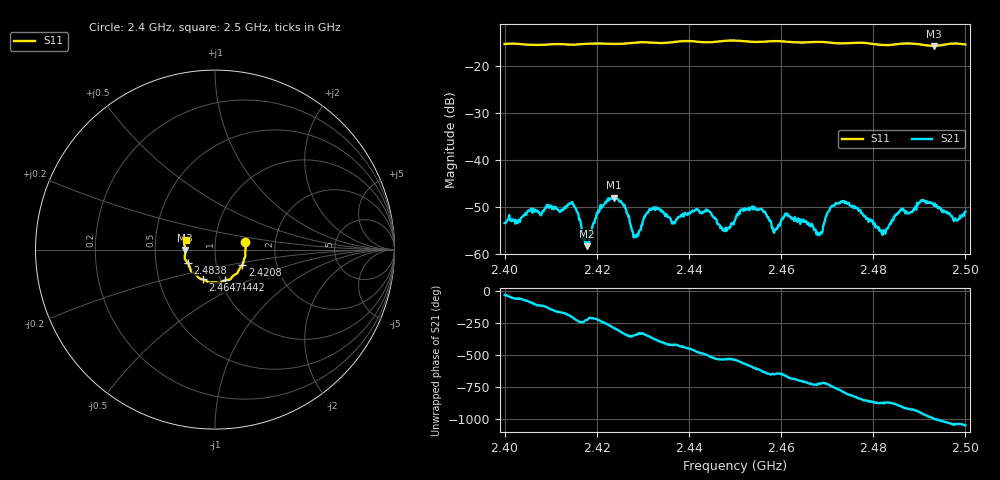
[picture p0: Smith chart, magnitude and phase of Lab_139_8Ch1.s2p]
# Hz S RI R 50
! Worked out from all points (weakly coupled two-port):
!   601 points, 2.4 GHz to 2.5 GHz, reference 50 ohm
!   highest |S21| = -47.94 dB at 2.4237 GHz (marker M1); lowest = -58.3 dB at 2.4178 GHz (marker M2)
!   lowest |S11| = -15.6 dB at 2.4932 GHz (marker M3), VSWR 1.40, Z = 35.8 - j0.101 ohm
!   |S11| at or under -10 dB: start of sweep to end of sweep
!   S12 and S22 are empty: the file has one direction only
!   S11 on the Smith chart (normalised r, x): 2.4 GHz: 1.40, +0.12; 2.4208 GHz: 1.33, -0.24; 2.4442 GHz: 1.05, -0.37; 2.4647 GHz: 0.83, -0.29; 2.4838 GHz: 0.73, -0.11; 2.5 GHz: 0.72, +0.08
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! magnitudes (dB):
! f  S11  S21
! 2.4 GHz  -15.2  -53.3
! 2.4143 GHz  -15.4  -49.0
! 2.4167 GHz  -15.3  -54.3
! 2.4178 GHz  -15.2  -58.3
! 2.4208 GHz  -15.1  -49.5
! 2.4237 GHz  -15.2  -47.9
! 2.4285 GHz  -14.9  -56.1
! 2.4333 GHz  -15.0  -50.1
! 2.4367 GHz  -14.8  -53.2
! 2.4442 GHz  -14.9  -50.8
! 2.4477 GHz  -14.6  -54.8
! 2.45 GHz  -14.5  -52.7
! 2.4538 GHz  -14.8  -50.4
! 2.4585 GHz  -14.6  -55.4
! 2.4647 GHz  -14.9  -53.0
! 2.4667 GHz  -14.8  -53.5
! 2.4685 GHz  -14.8  -55.6
! 2.4732 GHz  -15.1  -48.7
! 2.4833 GHz  -15.5  -54.1
! 2.4838 GHz  -15.4  -53.5
! 2.4932 GHz  -15.6  -49.6
! 2.5 GHz  -15.3  -50.9
